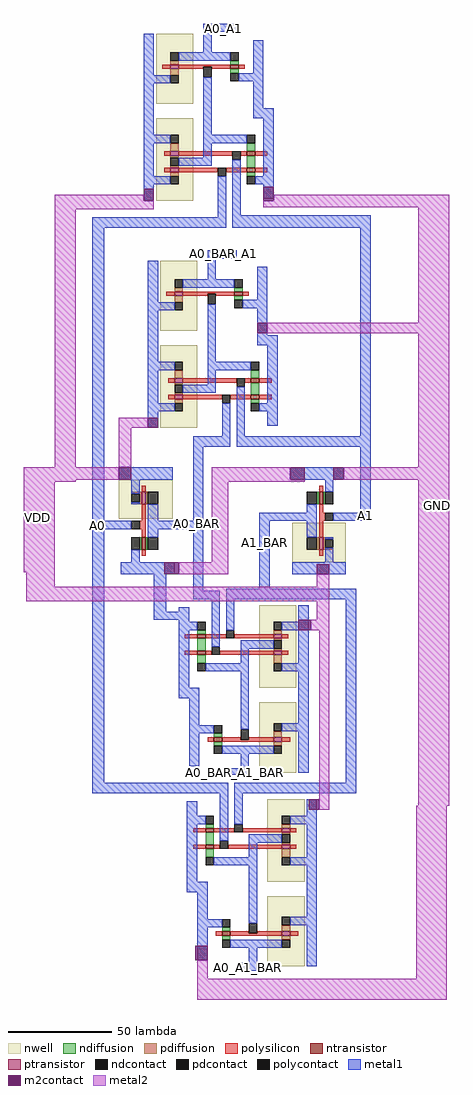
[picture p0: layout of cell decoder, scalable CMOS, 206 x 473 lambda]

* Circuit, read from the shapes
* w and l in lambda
.subckt decoder A0 A0_A1 A0_A1_BAR A0_BAR A0_BAR_A1 A0_BAR_A1_BAR A1 A1_BAR GND VDD
M1 A0_BAR A0 GND VSUBS nfet w=6 l=2
M2 n1 A0_BAR 2_input_AND_0/OUT VSUBS nfet w=4 l=2
M3 GND A1_BAR n1 VSUBS nfet w=4 l=2
M4 n2 A0 2_input_AND_1/OUT VSUBS nfet w=4 l=2
M5 GND A1_BAR n2 VSUBS nfet w=4 l=2
M6 GND 2_input_AND_0/OUT A0_BAR_A1_BAR VSUBS nfet w=4 l=2
M7 GND 2_input_AND_1/OUT A0_A1_BAR VSUBS nfet w=4 l=2
M8 A0_A1 2_input_AND_3/OUT GND VSUBS nfet w=4 l=2
M9 A0_BAR_A1 2_input_AND_2/OUT GND VSUBS nfet w=4 l=2
M10 n3 A0 GND VSUBS nfet w=4 l=2
M11 2_input_AND_3/OUT A1 n3 VSUBS nfet w=4 l=2
M12 n4 A0_BAR GND VSUBS nfet w=4 l=2
M13 2_input_AND_2/OUT A1 n4 VSUBS nfet w=4 l=2
M14 GND A1 A1_BAR VSUBS nfet w=6 l=2
M15 A0_BAR A0 VDD n5 pfet w=6 l=2
M16 2_input_AND_3/OUT A0 VDD n6 pfet w=4 l=2
M17 VDD A1 2_input_AND_3/OUT n6 pfet w=4 l=2
M18 A0_A1 2_input_AND_3/OUT VDD n7 pfet w=4 l=2
M19 2_input_AND_2/OUT A0_BAR VDD n8 pfet w=4 l=2
M20 VDD A1 2_input_AND_2/OUT n8 pfet w=4 l=2
M21 A0_BAR_A1 2_input_AND_2/OUT VDD n9 pfet w=4 l=2
M22 VDD 2_input_AND_0/OUT A0_BAR_A1_BAR n10 pfet w=4 l=2
M23 2_input_AND_0/OUT A0_BAR VDD n11 pfet w=4 l=2
M24 VDD A1_BAR 2_input_AND_0/OUT n11 pfet w=4 l=2
M25 VDD 2_input_AND_1/OUT A0_A1_BAR n12 pfet w=4 l=2
M26 2_input_AND_1/OUT A0 VDD n13 pfet w=4 l=2
M27 VDD A1_BAR 2_input_AND_1/OUT n13 pfet w=4 l=2
M28 VDD A1 A1_BAR n14 pfet w=6 l=2
.ends

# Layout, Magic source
magic
tech scmos
<< metal1 >>
rect 46 267 62 271
rect 46 265 50 267
rect 53 177 57 196
rect -8 172 57 177
rect 60 178 64 196
rect 60 172 127 178
rect -8 30 -2 172
rect 48 157 62 161
rect 48 155 52 157
rect 55 71 59 85
rect 41 66 59 71
rect 62 71 66 84
rect 122 71 127 172
rect 62 66 127 71
rect 41 30 46 66
rect 122 34 127 66
rect -8 26 7 30
rect 28 26 46 30
rect -8 -97 -2 26
rect 22 4 27 10
rect 22 -14 28 4
rect 41 -4 46 26
rect 73 30 93 34
rect 112 30 127 34
rect 73 -3 78 30
rect 41 -8 54 -4
rect 22 -18 39 -14
rect 50 -23 54 -8
rect 57 -8 120 -3
rect 57 -22 61 -8
rect 56 -93 68 -90
rect 115 -97 120 -8
rect -8 -102 58 -97
rect 54 -116 58 -102
rect 61 -102 120 -97
rect 61 -116 65 -102
rect 63 -188 72 -184
<< m2contact >>
rect 17 185 22 191
rect 75 185 80 192
rect 72 121 77 126
rect 19 75 24 80
rect 5 50 11 56
rect 88 50 95 56
rect 109 50 114 56
rect 27 4 34 10
rect 101 4 107 9
rect 92 -23 98 -18
rect 97 -110 102 -105
rect 42 -183 48 -176
<< metal2 >>
rect -26 185 17 188
rect -26 181 22 185
rect 80 185 165 188
rect 75 182 165 185
rect -26 56 -16 181
rect 150 126 165 182
rect 77 121 165 126
rect 5 75 19 80
rect 5 56 11 75
rect 150 56 165 121
rect -41 50 5 56
rect 50 50 88 56
rect 114 50 165 56
rect -41 49 -16 50
rect 50 49 95 50
rect -41 5 -26 49
rect 50 10 58 49
rect -40 -2 -26 5
rect 34 4 58 10
rect 101 -2 107 4
rect -40 -9 107 -2
rect 101 -18 107 -9
rect 98 -23 107 -18
rect 102 -110 107 -23
rect 150 -108 165 50
rect 43 -192 48 -183
rect 149 -192 164 -108
rect 43 -202 164 -192
use q1a_NOT  q1a_NOT_0
transform 1 0 17 0 1 27
box -12 -23 15 29
use q1a_NOT  q1a_NOT_1
transform -1 0 103 0 -1 33
box -12 -23 15 29
use 2_input_AND  2_input_AND_0
transform 0 1 64 -1 0 -23
box -12 -30 69 33
use 2_input_AND  2_input_AND_1
transform 0 1 68 -1 0 -117
box -12 -30 69 33
use 2_input_AND  2_input_AND_2
transform 0 -1 52 1 0 87
box -12 -30 69 33
use 2_input_AND  2_input_AND_3
transform 0 -1 50 1 0 197
box -12 -30 69 33
<< labels >>
rlabel metal1 -6 27 -5 28 1 A0
rlabel metal1 124 32 125 33 1 A1
rlabel metal1 75 19 76 20 1 A1_BAR
rlabel metal1 42 28 43 29 1 A0_BAR
rlabel metal2 -35 31 -34 32 1 VDD
rlabel metal2 159 37 160 38 1 GND
rlabel metal1 61 -92 61 -92 1 A0_BAR_A1_BAR
rlabel metal1 55 159 56 160 1 A0_BAR_A1
rlabel metal1 67 -187 68 -186 1 A0_A1_BAR
rlabel metal1 55 268 56 269 5 A0_A1
<< end >>

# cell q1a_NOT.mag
magic
tech scmos
<< nwell >>
rect -12 4 14 23
<< ntransistor >>
rect -1 -11 1 -5
<< ptransistor >>
rect -1 11 1 17
<< ndiffusion >>
rect -2 -11 -1 -5
rect 1 -11 2 -5
<< pdiffusion >>
rect -6 16 -1 17
rect -2 12 -1 16
rect -6 11 -1 12
rect 1 11 2 17
<< ndcontact >>
rect -6 -11 -2 -5
rect 2 -11 7 -5
<< pdcontact >>
rect -6 12 -2 16
rect 2 11 7 17
<< polysilicon >>
rect -1 17 1 20
rect -1 3 1 11
rect -2 -1 1 3
rect -1 -5 1 -1
rect -1 -14 1 -11
<< polycontact >>
rect -6 -1 -2 3
<< metal1 >>
rect -12 23 14 29
rect -6 16 -2 23
rect -6 11 -2 12
rect 2 3 7 11
rect -12 -1 -6 3
rect 2 -1 14 3
rect 2 -5 7 -1
rect -6 -17 -2 -11
rect -11 -23 15 -17
<< labels >>
rlabel metal1 -1 26 5 28 5 vdd
rlabel metal1 -10 0 -8 2 3 in
rlabel metal1 9 0 11 2 7 out
rlabel metal1 -2 -22 4 -20 1 gnd
<< end >>

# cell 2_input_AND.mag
magic
tech scmos
<< nwell >>
rect -12 9 28 27
rect 35 9 69 27
<< ntransistor >>
rect 52 -13 54 -9
rect 2 -21 4 -17
rect 10 -21 12 -17
<< ptransistor >>
rect 2 16 4 20
rect 10 16 12 20
rect 52 16 54 20
<< ndiffusion >>
rect 50 -13 52 -9
rect 54 -13 56 -9
rect 0 -21 2 -17
rect 4 -21 10 -17
rect 12 -21 16 -17
<< pdiffusion >>
rect 0 16 2 20
rect 4 16 5 20
rect 9 16 10 20
rect 12 16 16 20
rect 49 16 52 20
rect 54 16 56 20
<< ndcontact >>
rect 46 -13 50 -9
rect 56 -13 60 -9
rect -4 -21 0 -17
rect 16 -21 20 -17
<< pdcontact >>
rect -4 16 0 20
rect 5 16 9 20
rect 16 16 20 20
rect 45 16 49 20
rect 56 16 60 20
<< polysilicon >>
rect 2 20 4 23
rect 10 20 12 23
rect 52 20 54 24
rect 2 -3 4 16
rect 2 -17 4 -7
rect 10 -10 12 16
rect 52 4 54 16
rect 53 0 54 4
rect 52 -9 54 0
rect 10 -17 12 -14
rect 52 -16 54 -13
rect 2 -27 4 -21
rect 10 -27 12 -21
<< polycontact >>
rect 0 -7 4 -3
rect 48 0 53 4
rect 8 -14 12 -10
<< metal1 >>
rect -12 28 69 33
rect -4 20 0 28
rect 16 20 20 28
rect 45 20 49 28
rect 5 4 9 16
rect 56 4 60 16
rect 5 0 48 4
rect 56 0 69 4
rect -3 -7 0 -3
rect -3 -14 8 -10
rect 16 -17 20 0
rect 56 -9 60 0
rect 46 -20 50 -13
rect -4 -25 0 -21
rect 28 -25 66 -20
rect -11 -30 33 -25
<< labels >>
rlabel metal1 33 30 34 31 5 VDD
rlabel metal1 -1 -5 0 -4 1 A
rlabel metal1 0 -12 1 -11 1 B
rlabel metal1 37 1 38 2 1 OUT
rlabel metal1 65 2 66 3 7 OUT_FINAL
rlabel metal1 24 -29 25 -28 1 GND
<< end >>
